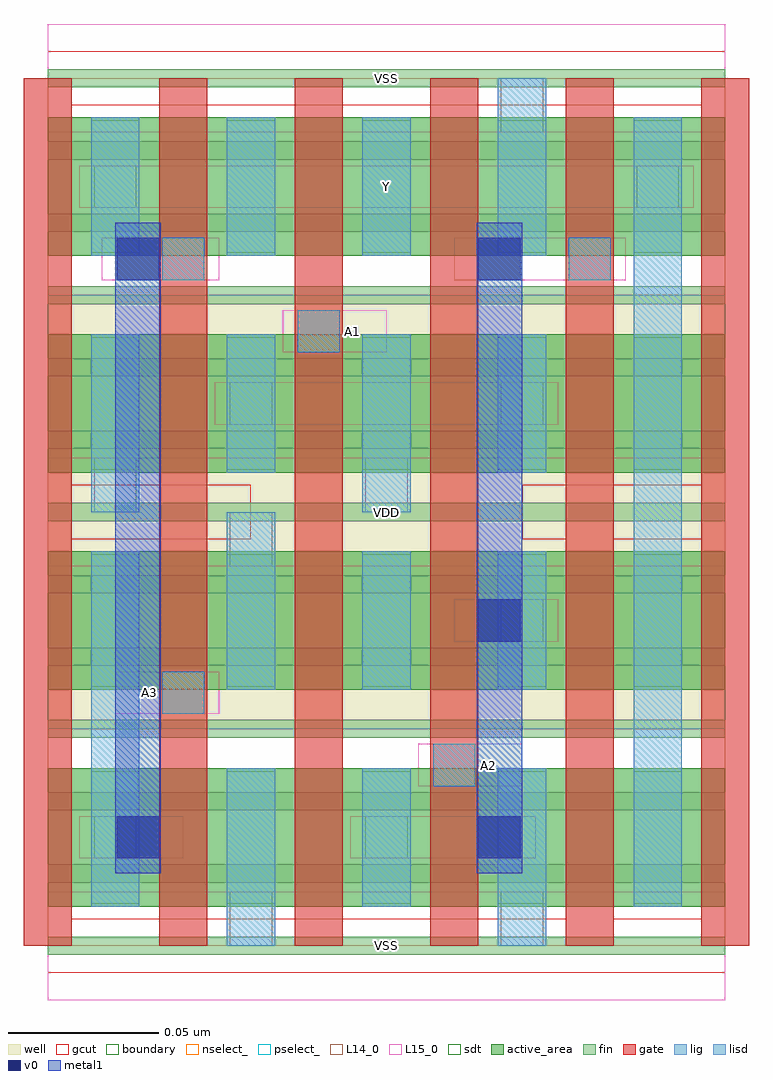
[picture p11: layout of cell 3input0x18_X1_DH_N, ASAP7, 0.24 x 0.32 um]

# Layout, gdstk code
import gdstk
lib = gdstk.Library(unit=1e-6, precision=2.5e-10)
def R(c, l, rs):  # rectangles x0, y0, x1, y1
    for r in rs: c.add(gdstk.rectangle(r[:2], r[2:], *l))
def A(c, l, x, y, w, h, nx, ny, dx, dy):  # array of equal rectangles
    R(c, l, [(x+i*dx, y+j*dy, x+i*dx+w, y+j*dy+h) for i in range(nx) for j in range(ny)])
def P(c, l, *ps):  # polygons
    for p in ps: c.add(gdstk.Polygon(p, *l))
well = (1, 0)
fin = (2, 0)
gate = (7, 0)
gcut = (10, 0)
active_area = (11, 0)
nselect_ = (12, 0)
pselect_ = (13, 0)
L14_0 = (14, 0)
L15_0 = (15, 0)
lig = (16, 0)
lisd = (17, 0)
v0 = (18, 0)
metal1 = (19, 0)
sdt = (88, 0)
boundary = (100, 0)

c_3input0x18_x1_dh_n = lib.new_cell('3input0x18_X1_DH_N')
R(c_3input0x18_x1_dh_n, well, [(0,0.072,0.225,0.144), (0,0.144,0.225,0.216)])
A(c_3input0x18_x1_dh_n, fin, 0, -0.003, 0.225, 0.006, 1, 13, 0, 0.024)
A(c_3input0x18_x1_dh_n, gate, -0.008, 0, 0.016, 0.288, 6, 1, 0.045, 0)
P(c_3input0x18_x1_dh_n, gcut, [(0,-0.009),(0,0),(-0.008,0),(-0.008,0.279),(0.008,0.279),(0.008,0.153),(0.0675,0.153),(0.0675,0.135),(0.008,0.135),(0.008,0.009),(0.172,0.009),(0.172,0.135),(0.188,0.135),(0.188,0.009),(0.217,0.009),(0.217,0.135),(0.1575,0.135),(0.1575,0.153),(0.217,0.153),(0.217,0.279),(-0.008,0.279),(-0.008,0.288),(0,0.288),(0,0.297),(0.225,0.297),(0.225,0.288),(0.233,0.288),(0.233,0),(0.225,0),(0.225,-0.009)])
A(c_3input0x18_x1_dh_n, active_area, 0, 0.013, 0.225, 0.046, 1, 4, 0, 0.072)
R(c_3input0x18_x1_dh_n, nselect_, [(0,0,0.225,0.072), (0,0.216,0.225,0.288)])
R(c_3input0x18_x1_dh_n, pselect_, [(0,0.072,0.225,0.144), (0,0.144,0.225,0.216)])
R(c_3input0x18_x1_dh_n, L14_0, [(0.0605,0,0.0745,0.018), (0.1505,0,0.1645,0.018), (0.0155,0.029,0.0295,0.043), (0.1055,0.029,0.1195,0.043), (0.128,0.053,0.142,0.067), (0.038,0.077,0.052,0.091), (0.1505,0.101,0.1645,0.115), (0.0605,0.126,0.0745,0.144), (0.0155,0.144,0.0295,0.162), (0.1055,0.144,0.1195,0.162), (0.0605,0.173,0.0745,0.187), (0.1505,0.173,0.1645,0.187), (0.083,0.197,0.097,0.211), (0.038,0.221,0.052,0.235), (0.173,0.221,0.187,0.235), (0.0155,0.245,0.0295,0.259), (0.1955,0.245,0.2095,0.259), (0.1505,0.27,0.1645,0.288)])
A(c_3input0x18_x1_dh_n, L15_0, 0, -0.018, 0.225, 0.036, 1, 3, 0, 0.144)
R(c_3input0x18_x1_dh_n, L15_0, [(0.0105,0.029,0.045,0.043), (0.1005,0.029,0.162,0.043), (0.123,0.053,0.1575,0.067), (0.0225,0.077,0.057,0.091), (0.135,0.101,0.1695,0.115), (0.0555,0.173,0.1695,0.187), (0.078,0.197,0.1125,0.211), (0.018,0.221,0.057,0.235), (0.135,0.221,0.192,0.235), (0.0105,0.245,0.2145,0.259)])
R(c_3input0x18_x1_dh_n, lig, [(0.128,0.053,0.142,0.067), (0.038,0.077,0.052,0.091), (0.083,0.197,0.097,0.211), (0.038,0.221,0.052,0.235), (0.173,0.221,0.187,0.235)])
A(c_3input0x18_x1_dh_n, lisd, 0.0145, 0.229, 0.016, 0.046, 3, 1, 0.045, 0)
R(c_3input0x18_x1_dh_n, lisd, [(0.0595,0,0.0755,0.059), (0.1495,0,0.1655,0.059), (0.0145,0.013,0.0305,0.131), (0.1045,0.013,0.1205,0.059), (0.1945,0.013,0.2105,0.275), (0.0595,0.085,0.0755,0.144), (0.1045,0.085,0.1205,0.131), (0.1495,0.085,0.1655,0.131), (0.0145,0.144,0.0305,0.203), (0.1045,0.144,0.1205,0.203), (0.0595,0.157,0.0755,0.203), (0.1495,0.157,0.1655,0.203), (0.1495,0.229,0.1655,0.288)])
R(c_3input0x18_x1_dh_n, v0, [(0.023,0.029,0.037,0.043), (0.143,0.029,0.157,0.043), (0.143,0.101,0.157,0.115), (0.023,0.221,0.037,0.235), (0.143,0.221,0.157,0.235)])
R(c_3input0x18_x1_dh_n, metal1, [(0.0225,0.024,0.0375,0.24), (0.1425,0.024,0.1575,0.24)])
A(c_3input0x18_x1_dh_n, sdt, 0.0145, 0.014, 0.016, 0.044, 5, 4, 0.045, 0.072)
R(c_3input0x18_x1_dh_n, boundary, [(0,0,0.225,0.288)])
c_3input0x18_x1_dh_n.add(gdstk.Label('Y', (0.1125,0.252), layer=15, texttype=251))
c_3input0x18_x1_dh_n.add(gdstk.Label('VSS', (0.1125,0), layer=15, texttype=251))
c_3input0x18_x1_dh_n.add(gdstk.Label('VDD', (0.1125,0.144), layer=15, texttype=251))
c_3input0x18_x1_dh_n.add(gdstk.Label('VDD', (0.1125,0.144), layer=15, texttype=251))
c_3input0x18_x1_dh_n.add(gdstk.Label('VSS', (0.1125,0.288), layer=15, texttype=251))
c_3input0x18_x1_dh_n.add(gdstk.Label('A1', (0.1013,0.204), layer=15, texttype=251))
c_3input0x18_x1_dh_n.add(gdstk.Label('VSS', (0.1125,0), layer=15, texttype=251))
c_3input0x18_x1_dh_n.add(gdstk.Label('VDD', (0.1125,0.144), layer=15, texttype=251))
c_3input0x18_x1_dh_n.add(gdstk.Label('VDD', (0.1125,0.144), layer=15, texttype=251))
c_3input0x18_x1_dh_n.add(gdstk.Label('VSS', (0.1125,0.288), layer=15, texttype=251))
c_3input0x18_x1_dh_n.add(gdstk.Label('A2', (0.1463,0.06), layer=15, texttype=251))
c_3input0x18_x1_dh_n.add(gdstk.Label('VSS', (0.1125,0), layer=15, texttype=251))
c_3input0x18_x1_dh_n.add(gdstk.Label('VDD', (0.1125,0.144), layer=15, texttype=251))
c_3input0x18_x1_dh_n.add(gdstk.Label('VDD', (0.1125,0.144), layer=15, texttype=251))
c_3input0x18_x1_dh_n.add(gdstk.Label('VSS', (0.1125,0.288), layer=15, texttype=251))
c_3input0x18_x1_dh_n.add(gdstk.Label('A3', (0.0338,0.084), layer=15, texttype=251))
c_3input0x18_x1_dh_n.add(gdstk.Label('VSS', (0.1125,0), layer=15, texttype=251))
c_3input0x18_x1_dh_n.add(gdstk.Label('VDD', (0.1125,0.144), layer=15, texttype=251))
c_3input0x18_x1_dh_n.add(gdstk.Label('VDD', (0.1125,0.144), layer=15, texttype=251))
c_3input0x18_x1_dh_n.add(gdstk.Label('VSS', (0.1125,0.288), layer=15, texttype=251))
c_3input0x18_x1_dh_n.add(gdstk.Label('VSS', (0.1125,0), layer=3, texttype=251))
c_3input0x18_x1_dh_n.add(gdstk.Label('VSS', (0.1125,0.288), layer=3, texttype=251))
c_3input0x18_x1_dh_n.add(gdstk.Label('VSS', (0.1125,0), layer=3, texttype=251))
c_3input0x18_x1_dh_n.add(gdstk.Label('VSS', (0.1125,0.288), layer=3, texttype=251))
c_3input0x18_x1_dh_n.add(gdstk.Label('VSS', (0.1125,0), layer=3, texttype=251))
c_3input0x18_x1_dh_n.add(gdstk.Label('VSS', (0.1125,0.288), layer=3, texttype=251))
c_3input0x18_x1_dh_n.add(gdstk.Label('VSS', (0.1125,0), layer=3, texttype=251))
c_3input0x18_x1_dh_n.add(gdstk.Label('VSS', (0.1125,0.288), layer=3, texttype=251))
c_3input0x18_x1_dh_n.add(gdstk.Label('VDD', (0.1125,0.144), layer=1, texttype=251))
c_3input0x18_x1_dh_n.add(gdstk.Label('VDD', (0.1125,0.144), layer=1, texttype=251))
c_3input0x18_x1_dh_n.add(gdstk.Label('VDD', (0.1125,0.144), layer=1, texttype=251))
c_3input0x18_x1_dh_n.add(gdstk.Label('VDD', (0.1125,0.144), layer=1, texttype=251))
c_3input0x18_x1_dh_n.add(gdstk.Label('VDD', (0.1125,0.144), layer=1, texttype=251))
c_3input0x18_x1_dh_n.add(gdstk.Label('VDD', (0.1125,0.144), layer=1, texttype=251))
c_3input0x18_x1_dh_n.add(gdstk.Label('VDD', (0.1125,0.144), layer=1, texttype=251))
c_3input0x18_x1_dh_n.add(gdstk.Label('VDD', (0.1125,0.144), layer=1, texttype=251))

lib.write_gds('3input0x18_X1_DH_N.gds')
